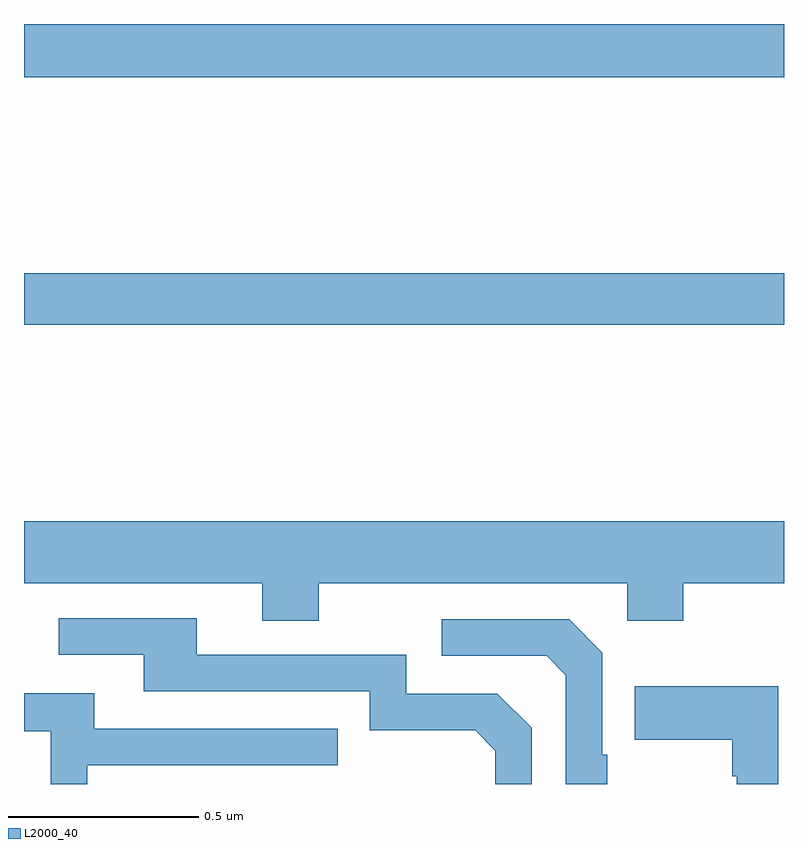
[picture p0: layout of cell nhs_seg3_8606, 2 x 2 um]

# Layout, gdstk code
import gdstk
lib = gdstk.Library(unit=1e-6, precision=1e-09)
def R(c, l, rs):  # rectangles x0, y0, x1, y1
    for r in rs: c.add(gdstk.rectangle(r[:2], r[2:], *l))
def P(c, l, *ps):  # polygons
    for p in ps: c.add(gdstk.Polygon(p, *l))
L2000_40 = (2000, 40)

nhs_seg3_8606 = lib.new_cell('nhs_seg3_8606')
R(nhs_seg3_8606, L2000_40, [(218,689.608,220,689.744), (218,690.26,220,690.4)])
P(nhs_seg3_8606, L2000_40, [(218.775,688.928),(219.588,688.928),(219.588,688.829),(219.735,688.829),(219.735,688.928),(220,688.928),(220,689.092),(218,689.092),(218,688.928),(218.627,688.928),(218.627,688.829),(218.775,688.829)],
  [(219.336,688.548),(219.246,688.638),(219.006,688.638),(219.006,688.74),(218.455,688.74),(218.455,688.836),(218.091,688.836),(218.091,688.74),(218.315,688.74),(218.315,688.644),(218.91,688.644),(218.91,688.541),(219.187,688.541),(219.24,688.488),(219.24,688.4),(219.336,688.4)],
  [(219.535,688.477),(219.522,688.477),(219.522,688.746),(219.435,688.833),(219.099,688.833),(219.099,688.737),(219.375,688.737),(219.426,688.686),(219.426,688.4),(219.535,688.4)],
  [(219.985,688.657),(219.607,688.657),(219.607,688.517),(219.864,688.517),(219.864,688.421),(219.876,688.421),(219.876,688.4),(219.985,688.4)],
  [(218.166,688.449),(218.825,688.449),(218.825,688.545),(218.185,688.545),(218.185,688.639),(218,688.639),(218,688.539),(218.07,688.539),(218.07,688.4),(218.166,688.4)])

lib.write_gds('nhs_seg3_8606.gds')
